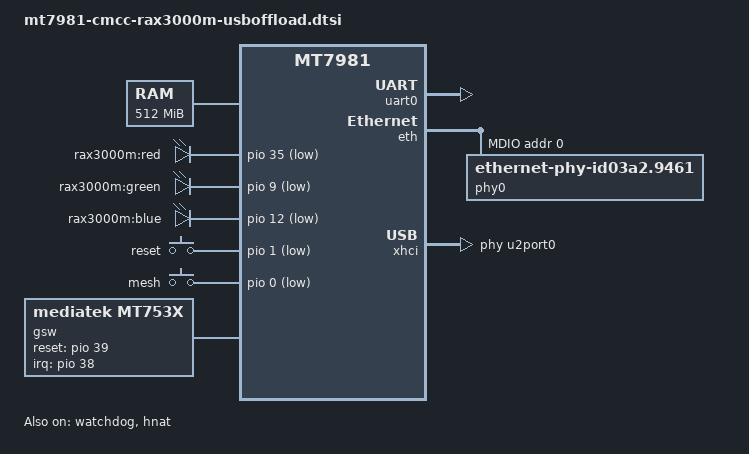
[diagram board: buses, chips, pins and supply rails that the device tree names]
/dts-v1/;
#include "mt7981.dtsi"

/ {
	aliases {
		led-boot = &red_led;
		led-failsafe = &red_led;
		led-running = &green_led;
		led-upgrade = &blue_led;
	};

	memory {
		reg = <0 0x40000000 0 0x20000000>;
	};

	leds {
		compatible = "gpio-leds";

		red_led: red {
			label = "rax3000m:red";
			gpios = <&pio 35 GPIO_ACTIVE_LOW>;
		};

		green_led: green {
			label = "rax3000m:green";
			gpios = <&pio 9 GPIO_ACTIVE_LOW>;
		};

		blue_led: blue {
			label = "rax3000m:blue";
			gpios = <&pio 12 GPIO_ACTIVE_LOW>;
		};
	};

	gpio-keys {
		compatible = "gpio-keys";
		reset {
			label = "reset";
			linux,code = <KEY_RESTART>;
			gpios = <&pio 1 GPIO_ACTIVE_LOW>;
		};

		mesh {
			label = "mesh";
			gpios = <&pio 0 GPIO_ACTIVE_LOW>;
			linux,code = <BTN_9>;
			linux,input-type = <EV_SW>;
		};
	};
	
	gsw: gsw@0 {
		compatible = "mediatek,mt753x";
		mediatek,ethsys = <&ethsys>;
		#address-cells = <1>;
		#size-cells = <0>;
	};

	 
};

&uart0 {
	status = "okay";
};

&watchdog {
	status = "okay";
};

&eth {
	status = "okay";

	gmac0: mac@0 {
		compatible = "mediatek,eth-mac";
		reg = <0>;
		phy-mode = "2500base-x";

		fixed-link {
			speed = <2500>;
			full-duplex;
			pause;
		};
	};

	gmac1: mac@1 {
		compatible = "mediatek,eth-mac";
		reg = <1>;
		phy-mode = "gmii";
		phy-handle = <&phy0>;
	};

	mdio: mdio-bus {
		#address-cells = <1>;
		#size-cells = <0>;

		phy0: ethernet-phy@0 {
			compatible = "ethernet-phy-id03a2.9461";
			reg = <0>;
			phy-mode = "gmii";
			nvmem-cells = <&phy_calibration>;
			nvmem-cell-names = "phy-cal-data";
		};
	};
};

&gsw {
	mediatek,mdio = <&mdio>;
	mediatek,mdio_master_pinmux = <0>;
	reset-gpios = <&pio 39 0>;
	interrupt-parent = <&pio>;
	interrupts = <38 IRQ_TYPE_LEVEL_HIGH>;
	status = "okay";

	port6: port@6 {
		compatible = "mediatek,mt753x-port";
		mediatek,ssc-on;
		reg = <6>;
		phy-mode = "sgmii";

		fixed-link {
			speed = <2500>;
			full-duplex;
		};
	};
};

&hnat {
	mtketh-wan = "eth1";
	mtketh-lan = "eth0";
	mtketh-max-gmac = <2>;
	status = "okay";
};

&xhci {
	mediatek,u3p-dis-msk = <0x0>;
	phys = <&u2port0 PHY_TYPE_USB2>,
		   <&u3port0 PHY_TYPE_USB3>;
	status = "okay";
};
